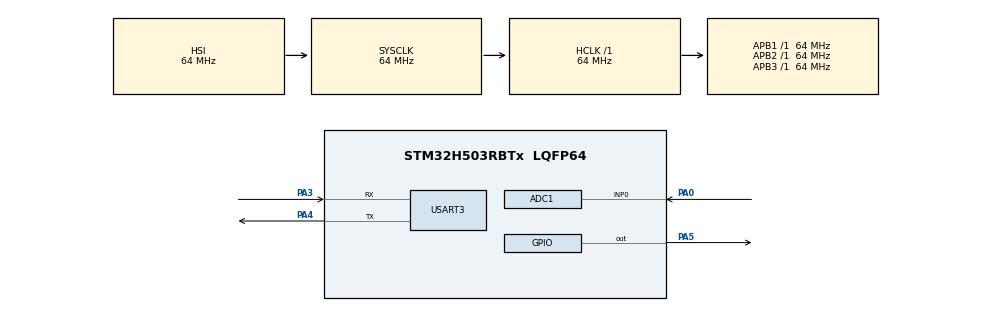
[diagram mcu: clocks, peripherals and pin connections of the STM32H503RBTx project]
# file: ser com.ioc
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ADC1.Channel-5\#ChannelRegularConversion=ADC_CHANNEL_0
ADC1.ContinuousConvMode=ENABLE
ADC1.DMAContinuousRequests=ENABLE
ADC1.MonitoredBy-5\#ChannelRegularConversion=__NULL
ADC1.NbrOfConversion=1
ADC1.NbrOfConversionFlag=1
ADC1.OffsetNumber-5\#ChannelRegularConversion=ADC_OFFSET_NONE
ADC1.Rank-5\#ChannelRegularConversion=1
ADC1.SamplingTime-5\#ChannelRegularConversion=ADC_SAMPLETIME_2CYCLES_5
ADC1.master=1
BOOTPATH.BootPathName=LEGACY
BOOTPATH.UserSelectedBootPath=LEGACY
Mcu.Family=STM32H5
Mcu.Name=STM32H503RBTx
Mcu.Package=LQFP64
NVIC.ADC1_IRQn=true\:0\:0\:false\:false\:true\:true\:true\:true
NVIC.PriorityGroup=NVIC_PRIORITYGROUP_4
NVIC.TIM6_IRQn=true\:0\:0\:false\:false\:true\:true\:true\:true
NVIC.USART3_IRQn=true\:0\:0\:false\:false\:true\:true\:true\:true
PA0.Signal=ADCx_INP0
PA3.Mode=Asynchronous
PA3.Signal=USART3_RX
PA4.Mode=Asynchronous
PA4.Signal=USART3_TX
PA5.Signal=GPIO_Output
ProjectManager.HeapSize=0x200
ProjectManager.StackSize=0x400
ProjectManager.TargetToolchain=STM32CubeIDE
RCC.ADCCLockSelection=RCC_ADCDACCLKSOURCE_CSI
RCC.ADCFreq_Value=4000000
RCC.AHBFreq_Value=64000000
RCC.APB1Freq_Value=64000000
RCC.APB1TimFreq_Value=64000000
RCC.APB2Freq_Value=64000000
RCC.APB2TimFreq_Value=64000000
RCC.APB3Freq_Value=64000000
RCC.CSI_VALUE=4000000
RCC.CortexFreq_Value=64000000
RCC.EPOD_VALUE=4000000
RCC.HCLKFreq_Value=64000000
RCC.HSE_VALUE=25000000
RCC.HSI48_VALUE=48000000
RCC.HSIDiv=RCC_HSI_DIV1
RCC.HSI_VALUE=64000000
RCC.LSE_VALUE=32768
RCC.LSIRC_VALUE=32000
RCC.SYSCLKFreq_VALUE=64000000
RCC.USBFreq_Value=48000000
RCC.VCOOutputFreq_Value=516000000
SH.ADCx_INP0.0=ADC1_INP0,IN0-Single-Ended
TIM6.PeriodNoDither=800-1
TIM6.Prescaler=80-1
USART3.VirtualMode=VM_ASYNC
VP_BOOTPATH_VS_BOOTPATH.Mode=BP_Activate
VP_CORTEX_M33_NS_VS_Hclk.Mode=Hclk_Mode
VP_FLASH_SIG_Activate_FlashIP.Mode=Activate_FlashIP
VP_MEMORYMAP_VS_MEMORYMAP.Mode=CurAppReg
VP_PWR_VS_DBSignals.Mode=DisableDeadBatterySignals
VP_PWR_VS_LPOM.Mode=PowerOptimisation
VP_PWR_VS_SECSignals.Mode=Security/Privilege
VP_TIM6_VS_ClockSourceINT.Mode=Enable_Timer
board=custom

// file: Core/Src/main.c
/* USER CODE BEGIN Header */
/**
 ******************************************************************************
 * @file           : main.c
 * @brief          : Main program body
 ******************************************************************************
 * @attention
 *
 * Copyright (c) 2024 STMicroelectronics.
 * All rights reserved.
 *
 * This software is licensed under terms that can be found in the LICENSE file
 * in the root directory of this software component.
 * If no LICENSE file comes with this software, it is provided AS-IS.
 *
 ******************************************************************************
 */
/* USER CODE END Header */
#include "main.h"

#include "flash.h"

#include "adc.h"

#include "gpio.h"

#include "tim.h"

#include "usart.h"

/* USER CODE BEGIN Includes */
#include <string.h>

#include <stdio.h>

#include <stdlib.h>

/* USER CODE END Includes */

/* USER CODE BEGIN PD */
#define BUFFER_SIZE 1024 // Define RX_BUFFER_SIZE
//word length used for string compare in UART interrupt
#define ping_morning_diff 12
#define ping_diff 4
#define LED_on_diff 6
#define LED_off_diff 7
#define adc_diff 3
/* USER CODE END PD */

/* USER CODE BEGIN PV */

//UART
uint8_t data_buffer[BUFFER_SIZE]; // data buffer
uint8_t recvd_data; // receive buffer
uint32_t count = 0; // count how many bytes are received
volatile uint32_t saved_chars_cnt = 0;

// flag variables used in UART interrupt
volatile uint8_t led_blinking = 0;
volatile uint32_t blink_counter = 0;
volatile uint32_t total_blink_counter = 0;
volatile uint32_t ping_check_counter = 0;
volatile uint8_t morning_ping = 0;
volatile uint8_t ping_call = 0;
volatile uint8_t led_on = 0;
volatile uint8_t adc_call = 0;
volatile uint8_t blink_ms_call = 0;
volatile uint8_t stop_blink = 0;
volatile uint8_t read_flash = 0;
volatile uint8_t data_arrived = 0;
volatile uint8_t sinus_measure = 0;
uint8_t turn_off_led = 0;
volatile uint8_t flash_data = 0;
volatile uint8_t ready_to_write = 0;
volatile uint8_t flash_adc_write = 0;
char ptr[3];
char ms[5];

//ADC1
volatile uint16_t AD_RES = 0;

volatile uint32_t adc_buffer[N];
volatile uint16_t adc_index = 0;
volatile uint8_t adc_buffer_full = 0;

volatile uint32_t write_to_addr = 0x0801E010;

/* USER CODE END PV */

void SystemClock_Config(void);
/* USER CODE BEGIN PFP */
void morning_led();
//void SendDataOverUART(uint8_t *data, uint32_t length);
/* USER CODE END PFP */

/* USER CODE BEGIN 0 */

// Function used for setting initial call to STM (blink LED 2 times)
void morning_led() {
  led_blinking = 1;
  blink_counter = 0;
  total_blink_counter = 0;
  turn_off_led = 1;
}

/* USER CODE END 0 */

int main(void) {

  /* USER CODE BEGIN 1 */
  uint8_t pong_morning[] = "dongle is alive\r\n";
  uint8_t pong_msg[] = "pong\r\n";
  uint8_t read_fail[] = "NAN";
  int toggle = 0;
  char send_adc[10];
  //uint32_t write_to_addr = 0x0801E010;

  /* USER CODE END 1 */

  /* MCU Configuration--------------------------------------------------------*/

  /* Reset of all peripherals, Initializes the Flash interface and the Systick. */
  HAL_Init();

  /* Configure the system clock */
  SystemClock_Config();

  /* Initialize all configured peripherals */
  MX_GPIO_Init();
  MX_USART3_UART_Init();
  MX_TIM6_Init();
  MX_ADC1_Init();
  /* USER CODE BEGIN 2 */
  // Start UART reception in interrupt mode
  HAL_UART_Receive_IT( & huart3, & recvd_data, 1);

  // Start TIM6 in interrupt mode
  HAL_TIM_Base_Start_IT( & htim6);
  HAL_ADCEx_Calibration_Start( & hadc1, ADC_SINGLE_ENDED);
  HAL_ADC_Start_IT( & hadc1);
  HAL_StatusTypeDef HAL_FLASH_Unlock(void);
  /* USER CODE END 2 */

  /* Infinite loop */
  while (1) {

    /* USER CODE BEGIN 3 */

    if (data_arrived == 1) {
		process_uart_command(data_buffer);
		data_arrived = 0;
		memset(data_buffer, 0, count);
		count = 0;
    }
	// used for Init of dongle, it blinks 2 times and send message that it is alive
	if (morning_ping == 1) {
		morning_ping = 0;
		morning_led();
		toggle = 100; //for Init part blinking is set to 100ms
		SendDataOverUART(pong_morning, sizeof(pong_morning));
	}
	// statements for "dongle alive - init" and also used for "blink xx ms" part of task
	if (led_blinking) {
		// Check if it's time to toggle the LED
		if (blink_counter >= toggle) { // this will toggle LED every toggle ms, timer is set so that it overflows every 1ms
		  HAL_GPIO_TogglePin(GPIOA, GPIO_PIN_5);
		  blink_counter = 0; // Reset the toggle counter
		}

		// Check if the total blink duration has been reached
		if (total_blink_counter >= 500 && turn_off_led == 1) { // turn off LED after 500 for Init part of program, or keep it running
		  // if "blink xx ms" is activated, it will turn LED off after "stop_blinking" command
		  led_blinking = 0;
		  HAL_GPIO_WritePin(GPIOA, GPIO_PIN_5, GPIO_PIN_RESET);
		  total_blink_counter = 0; // Reset the total blink counter
		}
	} else if (led_on == 1) {
		HAL_GPIO_WritePin(GPIOA, GPIO_PIN_5, GPIO_PIN_SET);
	} else {
		HAL_GPIO_WritePin(GPIOA, GPIO_PIN_5, GPIO_PIN_RESET);
	}
	// if "ping" is received send "pong" back
	if (ping_call == 1) {
		SendDataOverUART(pong_msg, sizeof(pong_msg));
		ping_call = 0;
	}
	// send adc value back
	if (adc_call == 1) {
		adc_call = 0;
		// convert the integer value to a string
		//sprintf(send_adc, "%d", AD_RES);
		AD_RES = Read_ADC_Once();
		sprintf(send_adc, "%d\r\n", AD_RES);
		SendDataOverUART((uint8_t * ) send_adc, sizeof(send_adc));
	}
	// some code from blink led for some ms have been added to, just to shorten interrupt call :)...
	if (blink_ms_call == 1) {
		led_blinking = 1;
		blink_ms_call = 0;
		sscanf(ms, "%d", & toggle);
		turn_off_led = 0;
	}
	if (ready_to_write == 1) {
		Flash_Write_Data(write_to_addr, (uint32_t * ) data_buffer, count);
		morning_led();
		toggle = 100; // toggla for 100ms

		memset(data_buffer, 0, count); // enpty the data buffer
		saved_chars_cnt = count;
		count = 0;

		ready_to_write = 0;
		flash_data = 0;
	}
	if (read_flash == 1 && saved_chars_cnt != 0) {
		if (flash_adc_write == 1) {
			//Flash_Read_Data_ADC(write_to_addr, saved_chars_cnt-1);
			Flash_Read_Data_AsText_ADC(write_to_addr, saved_chars_cnt-1);
			flash_adc_write = 0;
			read_flash = 0;
		}else {
			Flash_Read_Data(write_to_addr, saved_chars_cnt-1);
			read_flash = 0;
		}
	} else if (read_flash == 1) {
		SendDataOverUART(read_fail, sizeof(read_fail));
		read_flash = 0;
	}
	if (adc_buffer_full == 1){
		adc_buffer_full = 0;
		ProcessSineBuffer();
		HAL_ADC_Start_IT(&hadc1);
		sinus_measure = 0;
	}
//	if (sinus_measure == 1) {
//		measure_sinus();
//	}
	/*if (ping_check_counter >= 2000) {
	  SendDataOverUART(pong_msg, sizeof(pong_msg));
	  ping_check_counter = 0;
	}*/
	HAL_ADC_Start_IT( & hadc1); // Start again with ADC1 interrupt
  }
  /* USER CODE END 3 */
}

void SystemClock_Config(void) {
  RCC_OscInitTypeDef RCC_OscInitStruct = {
    0
  };
  RCC_ClkInitTypeDef RCC_ClkInitStruct = {
    0
  };

  /** Configure the main internal regulator output voltage
   */
  __HAL_PWR_VOLTAGESCALING_CONFIG(PWR_REGULATOR_VOLTAGE_SCALE3);

  while (!__HAL_PWR_GET_FLAG(PWR_FLAG_VOSRDY)) {}

  /** Initializes the RCC Oscillators according to the specified parameters
   * in the RCC_OscInitTypeDef structure.
   */
  RCC_OscInitStruct.OscillatorType = RCC_OSCILLATORTYPE_HSI | RCC_OSCILLATORTYPE_CSI;
  RCC_OscInitStruct.HSIState = RCC_HSI_ON;
  RCC_OscInitStruct.HSIDiv = RCC_HSI_DIV1;
  RCC_OscInitStruct.HSICalibrationValue = RCC_HSICALIBRATION_DEFAULT;
  RCC_OscInitStruct.CSIState = RCC_CSI_ON;
  RCC_OscInitStruct.CSICalibrationValue = RCC_CSICALIBRATION_DEFAULT;
  RCC_OscInitStruct.PLL.PLLState = RCC_PLL_NONE;
  if (HAL_RCC_OscConfig( & RCC_OscInitStruct) != HAL_OK) {
    Error_Handler();
  }

  /** Initializes the CPU, AHB and APB buses clocks
   */
  RCC_ClkInitStruct.ClockType = RCC_CLOCKTYPE_HCLK | RCC_CLOCKTYPE_SYSCLK |
    RCC_CLOCKTYPE_PCLK1 | RCC_CLOCKTYPE_PCLK2 |
    RCC_CLOCKTYPE_PCLK3;
  RCC_ClkInitStruct.SYSCLKSource = RCC_SYSCLKSOURCE_HSI;
  RCC_ClkInitStruct.AHBCLKDivider = RCC_SYSCLK_DIV1;
  RCC_ClkInitStruct.APB1CLKDivider = RCC_HCLK_DIV1;
  RCC_ClkInitStruct.APB2CLKDivider = RCC_HCLK_DIV1;
  RCC_ClkInitStruct.APB3CLKDivider = RCC_HCLK_DIV1;

  if (HAL_RCC_ClockConfig( & RCC_ClkInitStruct, FLASH_LATENCY_3) != HAL_OK) {
    Error_Handler();
  }
}

void Error_Handler(void) {
  __disable_irq();
  while (1) {}
}
